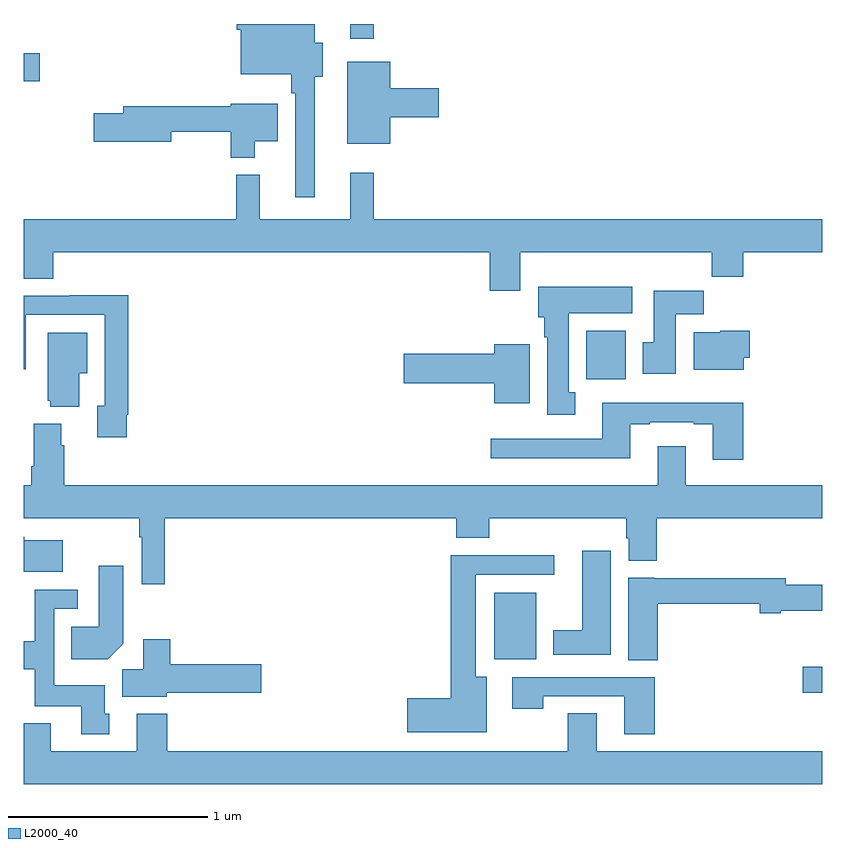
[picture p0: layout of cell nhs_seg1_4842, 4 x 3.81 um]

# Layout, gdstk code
import gdstk
lib = gdstk.Library(unit=1e-6, precision=1e-09)
def R(c, l, rs):  # rectangles x0, y0, x1, y1
    for r in rs: c.add(gdstk.rectangle(r[:2], r[2:], *l))
def P(c, l, *ps):  # polygons
    for p in ps: c.add(gdstk.Polygon(p, *l))
L2000_40 = (2000, 40)

nhs_seg1_4842 = lib.new_cell('nhs_seg1_4842')
R(nhs_seg1_4842, L2000_40, [(376.902,558.85,377,558.979), (375.356,559.016,375.568,559.351), (375.818,560.42,376.015,560.662), (373,561.911,373.081,562.053), (374.636,562.125,374.753,562.199)])
P(nhs_seg1_4842, L2000_40, [(374.458,561.935),(374.497,561.935),(374.497,562.105),(374.458,562.105),(374.458,562.199),(374.068,562.199),(374.068,562.169),(374.088,562.169),(374.088,561.947),(374.341,561.947),(374.341,561.851),(374.361,561.851),(374.361,561.33),(374.458,561.33)],
  [(374.836,561.731),(375.079,561.731),(375.079,561.878),(374.836,561.878),(374.836,562.009),(374.621,562.009),(374.621,561.599),(374.836,561.599)],
  [(374.158,561.611),(374.272,561.611),(374.272,561.799),(374.036,561.799),(374.036,561.788),(373.499,561.788),(373.499,561.752),(373.35,561.752),(373.35,561.61),(373.738,561.61),(373.738,561.66),(374.036,561.66),(374.036,561.53),(374.158,561.53)],
  [(375.487,561.056),(376.447,561.056),(376.447,560.932),(376.604,560.932),(376.604,561.056),(377,561.056),(377,561.22),(374.753,561.22),(374.753,561.454),(374.636,561.454),(374.636,561.22),(374.183,561.22),(374.183,561.445),(374.065,561.445),(374.065,561.22),(373,561.22),(373,560.923),(373.148,560.923),(373.148,561.056),(375.335,561.056),(375.335,560.862),(375.487,560.862)],
  [(375.763,560.354),(375.73,560.354),(375.73,560.75),(376.048,560.75),(376.048,560.884),(375.578,560.884),(375.578,560.73),(375.608,560.73),(375.608,560.63),(375.623,560.63),(375.623,560.241),(375.763,560.241)],
  [(376.267,560.744),(376.406,560.744),(376.406,560.863),(376.157,560.863),(376.157,560.604),(376.1,560.604),(376.1,560.448),(376.267,560.448)],
  [(373.516,560.242),(373.523,560.242),(373.523,560.84),(373.231,560.84),(373.231,560.838),(373,560.838),(373,560.469),(373.011,560.469),(373.011,560.742),(373.407,560.742),(373.407,560.286),(373.367,560.286),(373.367,560.13),(373.516,560.13)],
  [(376.606,560.526),(376.637,560.526),(376.637,560.662),(376.488,560.662),(376.488,560.656),(376.355,560.656),(376.355,560.468),(376.606,560.468)],
  [(373.279,560.45),(373.318,560.45),(373.318,560.653),(373.121,560.653),(373.121,560.313),(373.133,560.313),(373.133,560.282),(373.279,560.282)],
  [(375.535,560.596),(375.356,560.596),(375.356,560.546),(374.904,560.546),(374.904,560.399),(375.356,560.399),(375.356,560.3),(375.535,560.3)],
  [(376.604,560.302),(375.899,560.302),(375.899,560.121),(375.339,560.121),(375.339,560.024),(376.039,560.024),(376.039,560.193),(376.135,560.193),(376.135,560.205),(376.355,560.205),(376.355,560.193),(376.451,560.193),(376.451,560.016),(376.604,560.016)],
  [(373.189,560.09),(373.189,560.197),(373.049,560.197),(373.049,559.984),(373.037,559.984),(373.037,559.888),(373,559.888),(373,559.724),(373.578,559.724),(373.578,559.628),(373.59,559.628),(373.59,559.392),(373.706,559.392),(373.706,559.724),(375.167,559.724),(375.167,559.625),(375.332,559.625),(375.332,559.724),(376.019,559.724),(376.019,559.623),(376.031,559.623),(376.031,559.511),(376.172,559.511),(376.172,559.724),(377,559.724),(377,559.888),(376.315,559.888),(376.315,560.083),(376.175,560.083),(376.175,559.888),(373.202,559.888),(373.202,560.09)],
  [(373.195,559.612),(373.002,559.612),(373.002,559.63),(373,559.63),(373,559.454),(373.195,559.454)],
  [(375.94,559.561),(375.797,559.561),(375.797,559.162),(375.653,559.162),(375.653,559.04),(375.94,559.04)],
  [(375.319,558.928),(375.265,558.928),(375.265,559.44),(375.658,559.44),(375.658,559.538),(375.14,559.538),(375.14,558.821),(374.922,558.821),(374.922,558.65),(375.319,558.65)],
  [(373.498,559.094),(373.498,559.486),(373.376,559.486),(373.376,559.18),(373.237,559.18),(373.237,559.016),(373.42,559.016)],
  [(376.175,559.294),(376.688,559.294),(376.688,559.247),(376.792,559.247),(376.792,559.259),(377,559.259),(377,559.389),(376.816,559.389),(376.816,559.423),(376.158,559.423),(376.158,559.426),(376.028,559.426),(376.028,559.012),(376.175,559.012)],
  [(373.429,558.744),(373.405,558.744),(373.405,558.886),(373.152,558.886),(373.152,559.269),(373.27,559.269),(373.27,559.365),(373.056,559.365),(373.056,559.108),(373,559.108),(373,558.968),(373.054,558.968),(373.054,558.782),(373.289,558.782),(373.289,558.642),(373.429,558.642)],
  [(373.716,558.85),(374.191,558.85),(374.191,558.992),(373.733,558.992),(373.733,559.117),(373.598,559.117),(373.598,558.968),(373.493,558.968),(373.493,558.83),(373.716,558.83)],
  [(376.16,558.927),(375.447,558.927),(375.447,558.768),(375.603,558.768),(375.603,558.831),(376.007,558.831),(376.007,558.642),(376.16,558.642)],
  [(377,558.556),(375.871,558.556),(375.871,558.746),(375.724,558.746),(375.724,558.556),(373.718,558.556),(373.718,558.745),(373.565,558.745),(373.565,558.556),(373.135,558.556),(373.135,558.697),(373,558.697),(373,558.392),(377,558.392)])

lib.write_gds('nhs_seg1_4842.gds')
